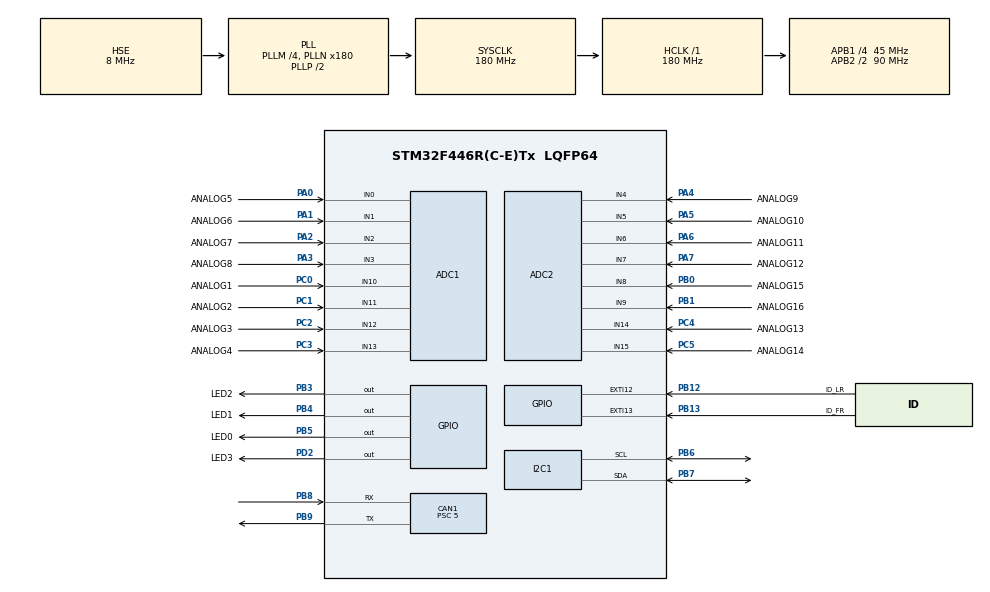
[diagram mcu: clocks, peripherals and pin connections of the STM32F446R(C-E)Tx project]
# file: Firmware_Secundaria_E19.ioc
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ADC1.Channel-0\#ChannelRegularConversion=ADC_CHANNEL_10
ADC1.Channel-1\#ChannelRegularConversion=ADC_CHANNEL_11
ADC1.Channel-2\#ChannelRegularConversion=ADC_CHANNEL_12
ADC1.Channel-3\#ChannelRegularConversion=ADC_CHANNEL_13
ADC1.Channel-4\#ChannelRegularConversion=ADC_CHANNEL_0
ADC1.Channel-5\#ChannelRegularConversion=ADC_CHANNEL_1
ADC1.Channel-6\#ChannelRegularConversion=ADC_CHANNEL_2
ADC1.Channel-7\#ChannelRegularConversion=ADC_CHANNEL_3
ADC1.ContinuousConvMode=ENABLE
ADC1.DMAContinuousRequests=ENABLE
ADC1.NbrOfConversion=8
ADC1.NbrOfConversionFlag=1
ADC1.Rank-0\#ChannelRegularConversion=1
ADC1.Rank-1\#ChannelRegularConversion=2
ADC1.Rank-2\#ChannelRegularConversion=3
ADC1.Rank-3\#ChannelRegularConversion=4
ADC1.Rank-4\#ChannelRegularConversion=5
ADC1.Rank-5\#ChannelRegularConversion=6
ADC1.Rank-6\#ChannelRegularConversion=7
ADC1.Rank-7\#ChannelRegularConversion=8
ADC1.SamplingTime-0\#ChannelRegularConversion=ADC_SAMPLETIME_480CYCLES
ADC1.SamplingTime-1\#ChannelRegularConversion=ADC_SAMPLETIME_480CYCLES
ADC1.SamplingTime-2\#ChannelRegularConversion=ADC_SAMPLETIME_480CYCLES
ADC1.SamplingTime-3\#ChannelRegularConversion=ADC_SAMPLETIME_480CYCLES
ADC1.SamplingTime-4\#ChannelRegularConversion=ADC_SAMPLETIME_480CYCLES
ADC1.SamplingTime-5\#ChannelRegularConversion=ADC_SAMPLETIME_480CYCLES
ADC1.SamplingTime-6\#ChannelRegularConversion=ADC_SAMPLETIME_480CYCLES
ADC1.SamplingTime-7\#ChannelRegularConversion=ADC_SAMPLETIME_480CYCLES
ADC1.ScanConvMode=ENABLE
ADC1.master=1
ADC2.Channel-0\#ChannelRegularConversion=ADC_CHANNEL_4
ADC2.Channel-1\#ChannelRegularConversion=ADC_CHANNEL_5
ADC2.Channel-2\#ChannelRegularConversion=ADC_CHANNEL_6
ADC2.Channel-3\#ChannelRegularConversion=ADC_CHANNEL_7
ADC2.Channel-4\#ChannelRegularConversion=ADC_CHANNEL_14
ADC2.Channel-5\#ChannelRegularConversion=ADC_CHANNEL_15
ADC2.Channel-6\#ChannelRegularConversion=ADC_CHANNEL_8
ADC2.Channel-7\#ChannelRegularConversion=ADC_CHANNEL_9
ADC2.ContinuousConvMode=ENABLE
ADC2.DMAContinuousRequests=ENABLE
ADC2.NbrOfConversion=8
ADC2.NbrOfConversionFlag=1
ADC2.Rank-0\#ChannelRegularConversion=1
ADC2.Rank-1\#ChannelRegularConversion=2
ADC2.Rank-2\#ChannelRegularConversion=3
ADC2.Rank-3\#ChannelRegularConversion=4
ADC2.Rank-4\#ChannelRegularConversion=5
ADC2.Rank-5\#ChannelRegularConversion=6
ADC2.Rank-6\#ChannelRegularConversion=7
ADC2.Rank-7\#ChannelRegularConversion=8
ADC2.SamplingTime-0\#ChannelRegularConversion=ADC_SAMPLETIME_480CYCLES
ADC2.SamplingTime-1\#ChannelRegularConversion=ADC_SAMPLETIME_480CYCLES
ADC2.SamplingTime-2\#ChannelRegularConversion=ADC_SAMPLETIME_480CYCLES
ADC2.SamplingTime-3\#ChannelRegularConversion=ADC_SAMPLETIME_480CYCLES
ADC2.SamplingTime-4\#ChannelRegularConversion=ADC_SAMPLETIME_480CYCLES
ADC2.SamplingTime-5\#ChannelRegularConversion=ADC_SAMPLETIME_480CYCLES
ADC2.SamplingTime-6\#ChannelRegularConversion=ADC_SAMPLETIME_480CYCLES
ADC2.SamplingTime-7\#ChannelRegularConversion=ADC_SAMPLETIME_480CYCLES
ADC2.ScanConvMode=ENABLE
CAN1.BS1=CAN_BS1_7TQ
CAN1.CalculateBaudRate=1000000
CAN1.CalculateTimeBit=1000
CAN1.CalculateTimeQuantum=111.11111111111111
CAN1.Prescaler=5
CAN1.SJW=CAN_SJW_4TQ
Dma.ADC1.0.Direction=DMA_PERIPH_TO_MEMORY
Dma.ADC1.0.FIFOMode=DMA_FIFOMODE_DISABLE
Dma.ADC1.0.Instance=DMA2_Stream0
Dma.ADC1.0.MemDataAlignment=DMA_MDATAALIGN_HALFWORD
Dma.ADC1.0.MemInc=DMA_MINC_ENABLE
Dma.ADC1.0.Mode=DMA_CIRCULAR
Dma.ADC1.0.PeriphDataAlignment=DMA_PDATAALIGN_HALFWORD
Dma.ADC1.0.PeriphInc=DMA_PINC_DISABLE
Dma.ADC1.0.Priority=DMA_PRIORITY_LOW
Dma.ADC2.1.Direction=DMA_PERIPH_TO_MEMORY
Dma.ADC2.1.FIFOMode=DMA_FIFOMODE_DISABLE
Dma.ADC2.1.Instance=DMA2_Stream2
Dma.ADC2.1.MemDataAlignment=DMA_MDATAALIGN_HALFWORD
Dma.ADC2.1.MemInc=DMA_MINC_ENABLE
Dma.ADC2.1.Mode=DMA_CIRCULAR
Dma.ADC2.1.PeriphDataAlignment=DMA_PDATAALIGN_HALFWORD
Dma.ADC2.1.PeriphInc=DMA_PINC_DISABLE
Dma.ADC2.1.Priority=DMA_PRIORITY_LOW
Dma.Request0=ADC1
Dma.Request1=ADC2
Mcu.Family=STM32F4
Mcu.Name=STM32F446R(C-E)Tx
Mcu.Package=LQFP64
NVIC.CAN1_RX0_IRQn=true\:0\:0\:false\:false\:true\:true\:true\:true
NVIC.DMA2_Stream0_IRQn=true\:0\:0\:false\:false\:true\:false\:true\:true
NVIC.DMA2_Stream2_IRQn=true\:0\:0\:false\:false\:true\:false\:true\:true
NVIC.PriorityGroup=NVIC_PRIORITYGROUP_4
NVIC.TIM7_IRQn=true\:0\:0\:false\:false\:true\:true\:true\:true
PA0-WKUP.GPIO_Label=ANALOG5
PA0-WKUP.Signal=ADCx_IN0
PA1.GPIO_Label=ANALOG6
PA1.Signal=ADCx_IN1
PA2.GPIO_Label=ANALOG7
PA2.Signal=ADCx_IN2
PA3.GPIO_Label=ANALOG8
PA3.Signal=ADCx_IN3
PA4.GPIO_Label=ANALOG9
PA4.Signal=ADCx_IN4
PA5.GPIO_Label=ANALOG10
PA5.Signal=ADCx_IN5
PA6.GPIO_Label=ANALOG11
PA6.Signal=ADCx_IN6
PA7.GPIO_Label=ANALOG12
PA7.Signal=ADCx_IN7
PB0.GPIO_Label=ANALOG15
PB0.Signal=ADCx_IN8
PB1.GPIO_Label=ANALOG16
PB1.Signal=ADCx_IN9
PB12.GPIO_Label=ID_LR
PB12.Signal=GPXTI12
PB13.GPIO_Label=ID_FR
PB13.Signal=GPXTI13
PB3.GPIO_Label=LED2
PB3.Signal=GPIO_Output
PB4.GPIO_Label=LED1
PB4.Signal=GPIO_Output
PB5.GPIO_Label=LED0
PB5.Signal=GPIO_Output
PB6.Mode=I2C
PB6.Signal=I2C1_SCL
PB7.Mode=I2C
PB7.Signal=I2C1_SDA
PB8.Mode=CAN_Activate
PB8.Signal=CAN1_RX
PB9.Mode=CAN_Activate
PB9.Signal=CAN1_TX
PC0.GPIO_Label=ANALOG1
PC0.Signal=ADCx_IN10
PC1.GPIO_Label=ANALOG2
PC1.Signal=ADCx_IN11
PC2.GPIO_Label=ANALOG3
PC2.Signal=ADCx_IN12
PC3.GPIO_Label=ANALOG4
PC3.Signal=ADCx_IN13
PC4.GPIO_Label=ANALOG13
PC4.Signal=ADCx_IN14
PC5.GPIO_Label=ANALOG14
PC5.Signal=ADCx_IN15
PD2.GPIO_Label=LED3
PD2.Signal=GPIO_Output
PH0-OSC_IN.Mode=HSE-External-Oscillator
PH0-OSC_IN.Signal=RCC_OSC_IN
PH1-OSC_OUT.Mode=HSE-External-Oscillator
PH1-OSC_OUT.Signal=RCC_OSC_OUT
ProjectManager.HeapSize=0x200
ProjectManager.StackSize=0x400
ProjectManager.TargetToolchain=STM32CubeIDE
RCC.AHBFreq_Value=180000000
RCC.APB1CLKDivider=RCC_HCLK_DIV4
RCC.APB1Freq_Value=45000000
RCC.APB1TimFreq_Value=90000000
RCC.APB2CLKDivider=RCC_HCLK_DIV2
RCC.APB2Freq_Value=90000000
RCC.APB2TimFreq_Value=180000000
RCC.CortexFreq_Value=180000000
RCC.HCLKFreq_Value=180000000
RCC.HSE_VALUE=8000000
RCC.PLLM=4
RCC.PLLN=180
RCC.PLLSourceVirtual=RCC_PLLSOURCE_HSE
RCC.SYSCLKFreq_VALUE=180000000
RCC.SYSCLKSource=RCC_SYSCLKSOURCE_PLLCLK
RCC.USBFreq_Value=180000000
RCC.VCOOutputFreq_Value=360000000
SH.ADCx_IN0.0=ADC1_IN0,IN0
SH.ADCx_IN1.0=ADC1_IN1,IN1
SH.ADCx_IN10.0=ADC1_IN10,IN10
SH.ADCx_IN11.0=ADC1_IN11,IN11
SH.ADCx_IN12.0=ADC1_IN12,IN12
SH.ADCx_IN13.0=ADC1_IN13,IN13
SH.ADCx_IN14.0=ADC2_IN14,IN14
SH.ADCx_IN15.0=ADC2_IN15,IN15
SH.ADCx_IN2.0=ADC1_IN2,IN2
SH.ADCx_IN3.0=ADC1_IN3,IN3
SH.ADCx_IN4.0=ADC2_IN4,IN4
SH.ADCx_IN5.0=ADC2_IN5,IN5
SH.ADCx_IN6.0=ADC2_IN6,IN6
SH.ADCx_IN7.0=ADC2_IN7,IN7
SH.ADCx_IN8.0=ADC2_IN8,IN8
SH.ADCx_IN9.0=ADC2_IN9,IN9
TIM7.Period=999
TIM7.Prescaler=89
VP_TIM7_VS_ClockSourceINT.Mode=Enable_Timer
board=custom

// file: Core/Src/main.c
/* USER CODE BEGIN Header */
/**
  ******************************************************************************
  * @file           : main.c
  * @brief          : Main program body
  ******************************************************************************
  * @attention
  *
  * Copyright (c) 2022 STMicroelectronics.
  * All rights reserved.
  *
  * This software is licensed under terms that can be found in the LICENSE file
  * in the root directory of this software component.
  * If no LICENSE file comes with this software, it is provided AS-IS.
  *
  ******************************************************************************
  */
/* USER CODE END Header */
#include "main.h"

/* USER CODE BEGIN Includes */
#include "secundaria.h"
/* USER CODE END Includes */

 ADC_HandleTypeDef hadc1;
ADC_HandleTypeDef hadc2;
DMA_HandleTypeDef hdma_adc1;
DMA_HandleTypeDef hdma_adc2;

CAN_HandleTypeDef hcan1;

I2C_HandleTypeDef hi2c1;

TIM_HandleTypeDef htim7;

void SystemClock_Config(void);
static void MX_GPIO_Init(void);
static void MX_DMA_Init(void);
static void MX_ADC1_Init(void);
static void MX_CAN1_Init(void);
static void MX_I2C1_Init(void);
static void MX_TIM7_Init(void);
static void MX_ADC2_Init(void);

int main(void)
{

  /* MCU Configuration--------------------------------------------------------*/

  /* Reset of all peripherals, Initializes the Flash interface and the Systick. */
  HAL_Init();

  /* Configure the system clock */
  SystemClock_Config();

  /* Initialize all configured peripherals */
  MX_GPIO_Init();
  MX_DMA_Init();
  MX_ADC1_Init();
  MX_CAN1_Init();
  MX_I2C1_Init();
  MX_TIM7_Init();
  MX_ADC2_Init();
  /* USER CODE BEGIN 2 */
  Secundaria_Init(&hcan1, &hi2c1, &htim7);
  /* USER CODE END 2 */

  /* Infinite loop */
  /* USER CODE BEGIN WHILE */
  while (1)
  {
	if((Acc_Msg[Analog_1_4] >= Per_Msg[Analog_1_4]) && (Per_Msg[Analog_1_4] != 0))
	{
		Acc_Msg[Analog_1_4] -= Per_Msg[Analog_1_4];
		Secundaria_Transmit_Message(&hcan1, Analog_1_4);
	}

	if((Acc_Msg[Analog_5_8] >= Per_Msg[Analog_5_8]) && (Per_Msg[Analog_5_8] != 0))
	{
		Acc_Msg[Analog_5_8] -= Per_Msg[Analog_5_8];
		Secundaria_Transmit_Message(&hcan1, Analog_5_8);
	}

	if((Acc_Msg[Analog_9_12] >= Per_Msg[Analog_9_12]) && (Per_Msg[Analog_9_12] != 0))
	{
		Acc_Msg[Analog_9_12] -= Per_Msg[Analog_9_12];
		Secundaria_Transmit_Message(&hcan1, Analog_9_12);
	}

	if((Acc_Msg[Analog_13_16] >= Per_Msg[Analog_13_16]) && (Per_Msg[Analog_13_16] != 0))
	{
		Acc_Msg[Analog_13_16] -= Per_Msg[Analog_13_16];
		Secundaria_Transmit_Message(&hcan1, Analog_13_16);
	}

	if((Acc_Msg[Verify_Msg] >= Per_Msg[Verify_Msg]) && (Per_Msg[Verify_Msg] != 0))
	{
		Acc_Msg[Verify_Msg] -= Per_Msg[Verify_Msg];
		Secundaria_Transmit_Message(&hcan1, Verify_Msg);
	}

//	if((Verify_CAN != 0) && (Verify != 0))
//		HAL_IWDG_Refresh(&hiwdg);
    /* USER CODE END WHILE */

  }
}

void SystemClock_Config(void)
{
  RCC_OscInitTypeDef RCC_OscInitStruct = {0};
  RCC_ClkInitTypeDef RCC_ClkInitStruct = {0};

  /** Configure the main internal regulator output voltage
  */
  __HAL_RCC_PWR_CLK_ENABLE();
  __HAL_PWR_VOLTAGESCALING_CONFIG(PWR_REGULATOR_VOLTAGE_SCALE1);

  /** Initializes the RCC Oscillators according to the specified parameters
  * in the RCC_OscInitTypeDef structure.
  */
  RCC_OscInitStruct.OscillatorType = RCC_OSCILLATORTYPE_HSE;
  RCC_OscInitStruct.HSEState = RCC_HSE_ON;
  RCC_OscInitStruct.PLL.PLLState = RCC_PLL_ON;
  RCC_OscInitStruct.PLL.PLLSource = RCC_PLLSOURCE_HSE;
  RCC_OscInitStruct.PLL.PLLM = 4;
  RCC_OscInitStruct.PLL.PLLN = 180;
  RCC_OscInitStruct.PLL.PLLP = RCC_PLLP_DIV2;
  RCC_OscInitStruct.PLL.PLLQ = 2;
  RCC_OscInitStruct.PLL.PLLR = 2;
  if (HAL_RCC_OscConfig(&RCC_OscInitStruct) != HAL_OK)
  {
    Error_Handler();
  }

  /** Activate the Over-Drive mode
  */
  if (HAL_PWREx_EnableOverDrive() != HAL_OK)
  {
    Error_Handler();
  }

  /** Initializes the CPU, AHB and APB buses clocks
  */
  RCC_ClkInitStruct.ClockType = RCC_CLOCKTYPE_HCLK|RCC_CLOCKTYPE_SYSCLK
                              |RCC_CLOCKTYPE_PCLK1|RCC_CLOCKTYPE_PCLK2;
  RCC_ClkInitStruct.SYSCLKSource = RCC_SYSCLKSOURCE_PLLCLK;
  RCC_ClkInitStruct.AHBCLKDivider = RCC_SYSCLK_DIV1;
  RCC_ClkInitStruct.APB1CLKDivider = RCC_HCLK_DIV4;
  RCC_ClkInitStruct.APB2CLKDivider = RCC_HCLK_DIV2;

  if (HAL_RCC_ClockConfig(&RCC_ClkInitStruct, FLASH_LATENCY_5) != HAL_OK)
  {
    Error_Handler();
  }
}

static void MX_ADC1_Init(void)
{

  ADC_ChannelConfTypeDef sConfig = {0};

  /** Configure the global features of the ADC (Clock, Resolution, Data Alignment and number of conversion)
  */
  hadc1.Instance = ADC1;
  hadc1.Init.ClockPrescaler = ADC_CLOCK_SYNC_PCLK_DIV4;
  hadc1.Init.Resolution = ADC_RESOLUTION_12B;
  hadc1.Init.ScanConvMode = ENABLE;
  hadc1.Init.ContinuousConvMode = ENABLE;
  hadc1.Init.DiscontinuousConvMode = DISABLE;
  hadc1.Init.ExternalTrigConvEdge = ADC_EXTERNALTRIGCONVEDGE_NONE;
  hadc1.Init.ExternalTrigConv = ADC_SOFTWARE_START;
  hadc1.Init.DataAlign = ADC_DATAALIGN_RIGHT;
  hadc1.Init.NbrOfConversion = 8;
  hadc1.Init.DMAContinuousRequests = ENABLE;
  hadc1.Init.EOCSelection = ADC_EOC_SINGLE_CONV;
  if (HAL_ADC_Init(&hadc1) != HAL_OK)
  {
    Error_Handler();
  }

  /** Configure for the selected ADC regular channel its corresponding rank in the sequencer and its sample time.
  */
  sConfig.Channel = ADC_CHANNEL_10;
  sConfig.Rank = 1;
  sConfig.SamplingTime = ADC_SAMPLETIME_480CYCLES;
  if (HAL_ADC_ConfigChannel(&hadc1, &sConfig) != HAL_OK)
  {
    Error_Handler();
  }

  /** Configure for the selected ADC regular channel its corresponding rank in the sequencer and its sample time.
  */
  sConfig.Channel = ADC_CHANNEL_11;
  sConfig.Rank = 2;
  if (HAL_ADC_ConfigChannel(&hadc1, &sConfig) != HAL_OK)
  {
    Error_Handler();
  }

  /** Configure for the selected ADC regular channel its corresponding rank in the sequencer and its sample time.
  */
  sConfig.Channel = ADC_CHANNEL_12;
  sConfig.Rank = 3;
  if (HAL_ADC_ConfigChannel(&hadc1, &sConfig) != HAL_OK)
  {
    Error_Handler();
  }

  /** Configure for the selected ADC regular channel its corresponding rank in the sequencer and its sample time.
  */
  sConfig.Channel = ADC_CHANNEL_13;
  sConfig.Rank = 4;
  if (HAL_ADC_ConfigChannel(&hadc1, &sConfig) != HAL_OK)
  {
    Error_Handler();
  }

  /** Configure for the selected ADC regular channel its corresponding rank in the sequencer and its sample time.
  */
  sConfig.Channel = ADC_CHANNEL_0;
  sConfig.Rank = 5;
  if (HAL_ADC_ConfigChannel(&hadc1, &sConfig) != HAL_OK)
  {
    Error_Handler();
  }

  /** Configure for the selected ADC regular channel its corresponding rank in the sequencer and its sample time.
  */
  sConfig.Channel = ADC_CHANNEL_1;
  sConfig.Rank = 6;
  if (HAL_ADC_ConfigChannel(&hadc1, &sConfig) != HAL_OK)
  {
    Error_Handler();
  }

  /** Configure for the selected ADC regular channel its corresponding rank in the sequencer and its sample time.
  */
  sConfig.Channel = ADC_CHANNEL_2;
  sConfig.Rank = 7;
  if (HAL_ADC_ConfigChannel(&hadc1, &sConfig) != HAL_OK)
  {
    Error_Handler();
  }

  /** Configure for the selected ADC regular channel its corresponding rank in the sequencer and its sample time.
  */
  sConfig.Channel = ADC_CHANNEL_3;
  sConfig.Rank = 8;
  if (HAL_ADC_ConfigChannel(&hadc1, &sConfig) != HAL_OK)
  {
    Error_Handler();
  }

}

static void MX_ADC2_Init(void)
{

  ADC_ChannelConfTypeDef sConfig = {0};

  /** Configure the global features of the ADC (Clock, Resolution, Data Alignment and number of conversion)
  */
  hadc2.Instance = ADC2;
  hadc2.Init.ClockPrescaler = ADC_CLOCK_SYNC_PCLK_DIV4;
  hadc2.Init.Resolution = ADC_RESOLUTION_12B;
  hadc2.Init.ScanConvMode = ENABLE;
  hadc2.Init.ContinuousConvMode = ENABLE;
  hadc2.Init.DiscontinuousConvMode = DISABLE;
  hadc2.Init.ExternalTrigConvEdge = ADC_EXTERNALTRIGCONVEDGE_NONE;
  hadc2.Init.ExternalTrigConv = ADC_SOFTWARE_START;
  hadc2.Init.DataAlign = ADC_DATAALIGN_RIGHT;
  hadc2.Init.NbrOfConversion = 8;
  hadc2.Init.DMAContinuousRequests = ENABLE;
  hadc2.Init.EOCSelection = ADC_EOC_SINGLE_CONV;
  if (HAL_ADC_Init(&hadc2) != HAL_OK)
  {
    Error_Handler();
  }

  /** Configure for the selected ADC regular channel its corresponding rank in the sequencer and its sample time.
  */
  sConfig.Channel = ADC_CHANNEL_4;
  sConfig.Rank = 1;
  sConfig.SamplingTime = ADC_SAMPLETIME_480CYCLES;
  if (HAL_ADC_ConfigChannel(&hadc2, &sConfig) != HAL_OK)
  {
    Error_Handler();
  }

  /** Configure for the selected ADC regular channel its corresponding rank in the sequencer and its sample time.
  */
  sConfig.Channel = ADC_CHANNEL_5;
  sConfig.Rank = 2;
  if (HAL_ADC_ConfigChannel(&hadc2, &sConfig) != HAL_OK)
  {
    Error_Handler();
  }

  /** Configure for the selected ADC regular channel its corresponding rank in the sequencer and its sample time.
  */
  sConfig.Channel = ADC_CHANNEL_6;
  sConfig.Rank = 3;
  if (HAL_ADC_ConfigChannel(&hadc2, &sConfig) != HAL_OK)
  {
    Error_Handler();
  }

  /** Configure for the selected ADC regular channel its corresponding rank in the sequencer and its sample time.
  */
  sConfig.Channel = ADC_CHANNEL_7;
  sConfig.Rank = 4;
  if (HAL_ADC_ConfigChannel(&hadc2, &sConfig) != HAL_OK)
  {
    Error_Handler();
  }

  /** Configure for the selected ADC regular channel its corresponding rank in the sequencer and its sample time.
  */
  sConfig.Channel = ADC_CHANNEL_14;
  sConfig.Rank = 5;
  if (HAL_ADC_ConfigChannel(&hadc2, &sConfig) != HAL_OK)
  {
    Error_Handler();
  }

  /** Configure for the selected ADC regular channel its corresponding rank in the sequencer and its sample time.
  */
  sConfig.Channel = ADC_CHANNEL_15;
  sConfig.Rank = 6;
  if (HAL_ADC_ConfigChannel(&hadc2, &sConfig) != HAL_OK)
  {
    Error_Handler();
  }

  /** Configure for the selected ADC regular channel its corresponding rank in the sequencer and its sample time.
  */
  sConfig.Channel = ADC_CHANNEL_8;
  sConfig.Rank = 7;
  if (HAL_ADC_ConfigChannel(&hadc2, &sConfig) != HAL_OK)
  {
    Error_Handler();
  }

  /** Configure for the selected ADC regular channel its corresponding rank in the sequencer and its sample time.
  */
  sConfig.Channel = ADC_CHANNEL_9;
  sConfig.Rank = 8;
  if (HAL_ADC_ConfigChannel(&hadc2, &sConfig) != HAL_OK)
  {
    Error_Handler();
  }

}

static void MX_CAN1_Init(void)
{

  hcan1.Instance = CAN1;
  hcan1.Init.Prescaler = 5;
  hcan1.Init.Mode = CAN_MODE_NORMAL;
  hcan1.Init.SyncJumpWidth = CAN_SJW_4TQ;
  hcan1.Init.TimeSeg1 = CAN_BS1_7TQ;
  hcan1.Init.TimeSeg2 = CAN_BS2_1TQ;
  hcan1.Init.TimeTriggeredMode = DISABLE;
  hcan1.Init.AutoBusOff = DISABLE;
  hcan1.Init.AutoWakeUp = DISABLE;
  hcan1.Init.AutoRetransmission = DISABLE;
  hcan1.Init.ReceiveFifoLocked = DISABLE;
  hcan1.Init.TransmitFifoPriority = DISABLE;
  if (HAL_CAN_Init(&hcan1) != HAL_OK)
  {
    Error_Handler();
  }

}

static void MX_I2C1_Init(void)
{

  hi2c1.Instance = I2C1;
  hi2c1.Init.ClockSpeed = 100000;
  hi2c1.Init.DutyCycle = I2C_DUTYCYCLE_2;
  hi2c1.Init.OwnAddress1 = 0;
  hi2c1.Init.AddressingMode = I2C_ADDRESSINGMODE_7BIT;
  hi2c1.Init.DualAddressMode = I2C_DUALADDRESS_DISABLE;
  hi2c1.Init.OwnAddress2 = 0;
  hi2c1.Init.GeneralCallMode = I2C_GENERALCALL_DISABLE;
  hi2c1.Init.NoStretchMode = I2C_NOSTRETCH_DISABLE;
  if (HAL_I2C_Init(&hi2c1) != HAL_OK)
  {
    Error_Handler();
  }

}

static void MX_TIM7_Init(void)
{

  TIM_MasterConfigTypeDef sMasterConfig = {0};

  htim7.Instance = TIM7;
  htim7.Init.Prescaler = 89;
  htim7.Init.CounterMode = TIM_COUNTERMODE_UP;
  htim7.Init.Period = 999;
  htim7.Init.AutoReloadPreload = TIM_AUTORELOAD_PRELOAD_DISABLE;
  if (HAL_TIM_Base_Init(&htim7) != HAL_OK)
  {
    Error_Handler();
  }
  sMasterConfig.MasterOutputTrigger = TIM_TRGO_RESET;
  sMasterConfig.MasterSlaveMode = TIM_MASTERSLAVEMODE_DISABLE;
  if (HAL_TIMEx_MasterConfigSynchronization(&htim7, &sMasterConfig) != HAL_OK)
  {
    Error_Handler();
  }

}

static void MX_DMA_Init(void)
{

  /* DMA controller clock enable */
  __HAL_RCC_DMA2_CLK_ENABLE();

  /* DMA interrupt init */
  /* DMA2_Stream0_IRQn interrupt configuration */
  HAL_NVIC_SetPriority(DMA2_Stream0_IRQn, 0, 0);
  HAL_NVIC_EnableIRQ(DMA2_Stream0_IRQn);
  /* DMA2_Stream2_IRQn interrupt configuration */
  HAL_NVIC_SetPriority(DMA2_Stream2_IRQn, 0, 0);
  HAL_NVIC_EnableIRQ(DMA2_Stream2_IRQn);

}

static void MX_GPIO_Init(void)
{
  GPIO_InitTypeDef GPIO_InitStruct = {0};

  /* GPIO Ports Clock Enable */
  __HAL_RCC_GPIOH_CLK_ENABLE();
  __HAL_RCC_GPIOC_CLK_ENABLE();
  __HAL_RCC_GPIOA_CLK_ENABLE();
  __HAL_RCC_GPIOB_CLK_ENABLE();
  __HAL_RCC_GPIOD_CLK_ENABLE();

  /*Configure GPIO pin Output Level */
  HAL_GPIO_WritePin(LED3_GPIO_Port, LED3_Pin, GPIO_PIN_RESET);

  /*Configure GPIO pin Output Level */
  HAL_GPIO_WritePin(GPIOB, LED2_Pin|LED1_Pin|LED0_Pin, GPIO_PIN_RESET);

  /*Configure GPIO pins : ID_LR_Pin ID_FR_Pin */
  GPIO_InitStruct.Pin = ID_LR_Pin|ID_FR_Pin;
  GPIO_InitStruct.Mode = GPIO_MODE_IT_RISING;
  GPIO_InitStruct.Pull = GPIO_NOPULL;
  HAL_GPIO_Init(GPIOB, &GPIO_InitStruct);

  /*Configure GPIO pin : LED3_Pin */
  GPIO_InitStruct.Pin = LED3_Pin;
  GPIO_InitStruct.Mode = GPIO_MODE_OUTPUT_PP;
  GPIO_InitStruct.Pull = GPIO_NOPULL;
  GPIO_InitStruct.Speed = GPIO_SPEED_FREQ_LOW;
  HAL_GPIO_Init(LED3_GPIO_Port, &GPIO_InitStruct);

  /*Configure GPIO pins : LED2_Pin LED1_Pin LED0_Pin */
  GPIO_InitStruct.Pin = LED2_Pin|LED1_Pin|LED0_Pin;
  GPIO_InitStruct.Mode = GPIO_MODE_OUTPUT_PP;
  GPIO_InitStruct.Pull = GPIO_NOPULL;
  GPIO_InitStruct.Speed = GPIO_SPEED_FREQ_LOW;
  HAL_GPIO_Init(GPIOB, &GPIO_InitStruct);

}

void Error_Handler(void)
{
  __disable_irq();
  while (1)
  {
  }
}
